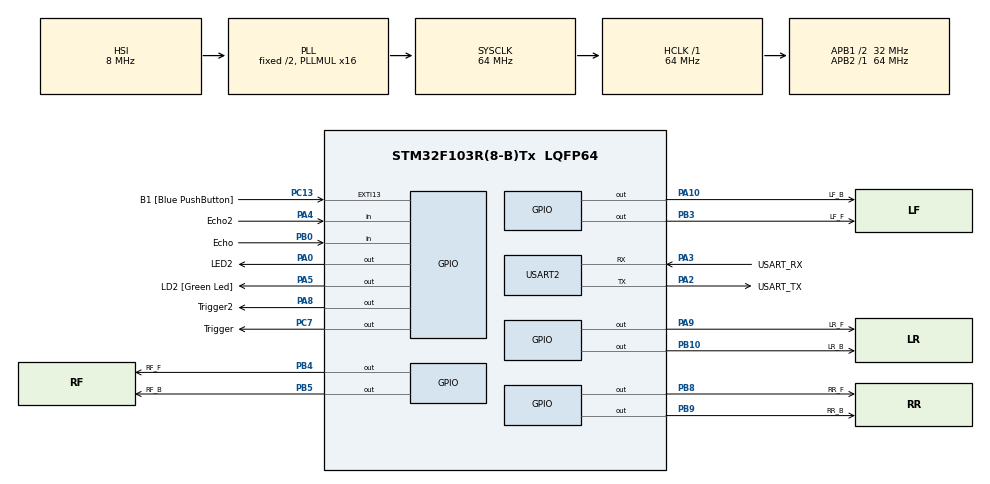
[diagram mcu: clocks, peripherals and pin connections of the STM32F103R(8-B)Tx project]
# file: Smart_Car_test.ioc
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Mcu.Family=STM32F1
Mcu.Name=STM32F103R(8-B)Tx
Mcu.Package=LQFP64
NVIC.EXTI15_10_IRQn=true\:0\:0\:false\:false\:true\:true\:true\:true
NVIC.PriorityGroup=NVIC_PRIORITYGROUP_4
NVIC.USART2_IRQn=true\:0\:0\:false\:false\:true\:true\:true\:true
PA0-WKUP.GPIO_Label=LED2
PA0-WKUP.Signal=GPIO_Output
PA10.GPIO_Label=LF_B
PA10.Signal=GPIO_Output
PA13.GPIO_Label=TMS
PA13.Mode=Serial_Wire
PA13.Signal=SYS_JTMS-SWDIO
PA14.GPIO_Label=TCK
PA14.Mode=Serial_Wire
PA14.Signal=SYS_JTCK-SWCLK
PA2.GPIO_Label=USART_TX
PA2.GPIO_Mode=GPIO_MODE_AF_PP
PA2.GPIO_PuPd=GPIO_NOPULL
PA2.GPIO_Speed=GPIO_SPEED_FREQ_LOW
PA2.Mode=Asynchronous
PA2.Signal=USART2_TX
PA3.GPIO_Label=USART_RX
PA3.GPIO_Mode=GPIO_MODE_AF_PP
PA3.GPIO_PuPd=GPIO_NOPULL
PA3.GPIO_Speed=GPIO_SPEED_FREQ_LOW
PA3.Mode=Asynchronous
PA3.Signal=USART2_RX
PA4.GPIO_Label=Echo2
PA4.Signal=GPIO_Input
PA5.GPIO_Label=LD2 [Green Led]
PA5.GPIO_ModeDefaultOutputPP=GPIO_MODE_OUTPUT_PP
PA5.GPIO_PuPd=GPIO_NOPULL
PA5.GPIO_Speed=GPIO_SPEED_FREQ_LOW
PA5.Signal=GPIO_Output
PA8.GPIO_Label=Trigger2
PA8.Signal=GPIO_Output
PA9.GPIO_Label=LR_F
PA9.Signal=GPIO_Output
PB0.GPIO_Label=Echo
PB0.Signal=GPIO_Input
PB10.GPIO_Label=LR_B
PB10.Signal=GPIO_Output
PB3.GPIO_Label=LF_F
PB3.Signal=GPIO_Output
PB4.GPIO_Label=RF_F
PB4.Signal=GPIO_Output
PB5.GPIO_Label=RF_B
PB5.Signal=GPIO_Output
PB8.GPIO_Label=RR_F
PB8.Signal=GPIO_Output
PB9.GPIO_Label=RR_B
PB9.Signal=GPIO_Output
PC13-TAMPER-RTC.GPIO_Label=B1 [Blue PushButton]
PC13-TAMPER-RTC.GPIO_PuPd=GPIO_NOPULL
PC13-TAMPER-RTC.Signal=GPXTI13
PC14-OSC32_IN.Signal=RCC_OSC32_IN
PC15-OSC32_OUT.Signal=RCC_OSC32_OUT
PC7.GPIO_Label=Trigger
PC7.Signal=GPIO_Output
PD0-OSC_IN.Signal=RCC_OSC_IN
PD1-OSC_OUT.Signal=RCC_OSC_OUT
ProjectManager.HeapSize=0x200
ProjectManager.StackSize=0x400
ProjectManager.TargetToolchain=STM32CubeIDE
RCC.AHBFreq_Value=64000000
RCC.APB1CLKDivider=RCC_HCLK_DIV2
RCC.APB1Freq_Value=32000000
RCC.APB1TimFreq_Value=64000000
RCC.APB2Freq_Value=64000000
RCC.APB2TimFreq_Value=64000000
RCC.HCLKFreq_Value=64000000
RCC.PLLMUL=RCC_PLL_MUL16
RCC.RTCClockSelection=RCC_RTCCLKSOURCE_LSE
RCC.SYSCLKFreq_VALUE=64000000
RCC.SYSCLKSource=RCC_SYSCLKSOURCE_PLLCLK
RCC.USBFreq_Value=64000000
TIM1.Prescaler=64-1
TIM2.Prescaler=64-1
USART2.VirtualMode=VM_ASYNC
VP_TIM1_VS_ClockSourceINT.Mode=Internal
VP_TIM2_VS_ClockSourceINT.Mode=Internal
board=NUCLEO-F103RB

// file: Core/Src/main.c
/* USER CODE BEGIN Header */
/**
  ******************************************************************************
  * @file           : main.c
  * @brief          : Main program body
  ******************************************************************************
  * @attention
  *
  * Copyright (c) 2025 STMicroelectronics.
  * All rights reserved.
  *
  * This software is licensed under terms that can be found in the LICENSE file
  * in the root directory of this software component.
  * If no LICENSE file comes with this software, it is provided AS-IS.
  *
  ******************************************************************************
  */
/* USER CODE END Header */
#include "main.h"
#include "stdio.h"

TIM_HandleTypeDef htim1;
TIM_HandleTypeDef htim2;

UART_HandleTypeDef huart2;

/* USER CODE BEGIN PV */
volatile uint8_t rx_data;           // UART로 수신된 데이터를 저장할 변수
volatile uint8_t new_data_flag = 0; // 새 데이터 수신 여부를 알리는 플래그
volatile uint32_t last_rx_time = 0; // 마지막으로 데이터를 수신한 시간

int HIGH = 1;
int LOW = 0;
/* USER CODE END PV */

void SystemClock_Config(void);
static void MX_GPIO_Init(void);
static void MX_USART2_UART_Init(void);
static void MX_TIM1_Init(void);
static void MX_TIM2_Init(void);

/* USER CODE BEGIN 0 */
#ifdef __GNUC__
#define PUTCHAR_PROTOTYPE int __io_putchar(int ch)
#else
#define PUTCHAR_PROTOTYPE int fputc(int ch, FILE *f)
#endif

PUTCHAR_PROTOTYPE {
	if (ch == '\n')
		HAL_UART_Transmit(&huart2, (uint8_t*) "\r", 1, 0xFFFF);

	HAL_UART_Transmit(&huart2, (uint8_t*) &ch, 1, 0xFFFF);

	return ch;

}

void Smartcar_forward(){
	HAL_GPIO_WritePin(RR_F_GPIO_Port, RR_F_Pin, 1); // PB8  뒤앞   21 22  RR_F /Right_RearForward
	HAL_GPIO_WritePin(RR_B_GPIO_Port, RR_B_Pin, 0); // PB9  뒤백	RR_B Right_RearBack

	HAL_GPIO_WritePin(RF_F_GPIO_Port, RF_F_Pin, 1); // PB4 앞앞  17 16 RF_F
	HAL_GPIO_WritePin(RF_B_GPIO_Port, RF_B_Pin, 0); // PB5 앞백 RF_B

	HAL_GPIO_WritePin(LR_F_GPIO_Port, LR_F_Pin, 1); // PA9  뒤앞 LR_F 12  27 left_RearForward
	HAL_GPIO_WritePin(LR_B_GPIO_Port, LR_B_Pin, 0); // PB10 뒤백 LR_B left_RearBack

	HAL_GPIO_WritePin(LF_F_GPIO_Port, LF_F_Pin, 1); // 앞앞 PB3 25 26 LF_F left_ForwardForward
	HAL_GPIO_WritePin(LF_B_GPIO_Port, LF_B_Pin, 0); // 앞백 PA10 LF_B left_ForwardBack
}

void smartcar_back(){
	HAL_GPIO_WritePin(RR_F_GPIO_Port, RR_F_Pin, 0); // PB8  뒤앞   21 22  RR_F /Right_RearForward
	HAL_GPIO_WritePin(RR_B_GPIO_Port, RR_B_Pin, 1); // PB9  뒤백	RR_B Right_RearBack

	HAL_GPIO_WritePin(RF_F_GPIO_Port, RF_F_Pin, 0); // PB4 앞앞  17 16 RF_F
	HAL_GPIO_WritePin(RF_B_GPIO_Port, RF_B_Pin, 1); // PB5 앞백 RF_B

	HAL_GPIO_WritePin(LR_F_GPIO_Port, LR_F_Pin, 0); // PA9  뒤앞 LR_F 12  27 left_RearForward
	HAL_GPIO_WritePin(LR_B_GPIO_Port, LR_B_Pin, 1); // PB10 뒤백 LR_B left_RearBack

	HAL_GPIO_WritePin(LF_F_GPIO_Port, LF_F_Pin, 0); // 앞앞 PB3 25 26 LF_F left_ForwardForward
	HAL_GPIO_WritePin(LF_B_GPIO_Port, LF_B_Pin, 1); // 앞백 PA10 LF_B left_ForwardBack
}

void smartcar_left(){
	HAL_GPIO_WritePin(RR_F_GPIO_Port, RR_F_Pin, 1); // PB8  뒤앞   21 22  RR_F /Right_RearForward
	HAL_GPIO_WritePin(RR_B_GPIO_Port, RR_B_Pin, 0); // PB9  뒤백	RR_B Right_RearBack

	HAL_GPIO_WritePin(RF_F_GPIO_Port, RF_F_Pin, 1); // PB4 앞앞  17 16 RF_F
	HAL_GPIO_WritePin(RF_B_GPIO_Port, RF_B_Pin, 0); // PB5 앞백 RF_B

	HAL_GPIO_WritePin(LR_F_GPIO_Port, LR_F_Pin, 0); // PA9  뒤앞 LR_F 12  27 left_RearForward
	HAL_GPIO_WritePin(LR_B_GPIO_Port, LR_B_Pin, 1); // PB10 뒤백 LR_B left_RearBack

	HAL_GPIO_WritePin(LF_F_GPIO_Port, LF_F_Pin, 0); // 앞앞 PB3 25 26 LF_F left_ForwardForward
	HAL_GPIO_WritePin(LF_B_GPIO_Port, LF_B_Pin, 1); // 앞백 PA10 LF_B left_ForwardBack
}

void smartcar_right(){
	HAL_GPIO_WritePin(RR_F_GPIO_Port, RR_F_Pin, 0); // PB8  뒤앞   21 22  RR_F /Right_RearForward
	HAL_GPIO_WritePin(RR_B_GPIO_Port, RR_B_Pin, 1); // PB9  뒤백	RR_B Right_RearBack

	HAL_GPIO_WritePin(RF_F_GPIO_Port, RF_F_Pin, 0); // PB4 앞앞  17 16 RF_F
	HAL_GPIO_WritePin(RF_B_GPIO_Port, RF_B_Pin, 1); // PB5 앞백 RF_B

	HAL_GPIO_WritePin(LR_F_GPIO_Port, LR_F_Pin, 1); // PA9  뒤앞 LR_F 12  27 left_RearForward
	HAL_GPIO_WritePin(LR_B_GPIO_Port, LR_B_Pin, 0); // PB10 뒤백 LR_B left_RearBack

	HAL_GPIO_WritePin(LF_F_GPIO_Port, LF_F_Pin, 1); // 앞앞 PB3 25 26 LF_F left_ForwardForward
	HAL_GPIO_WritePin(LF_B_GPIO_Port, LF_B_Pin, 0); // 앞백 PA10 LF_B left_ForwardBack
}

void smartcar_stop(){
	HAL_GPIO_WritePin(RR_F_GPIO_Port, RR_F_Pin, 0); // PB8  뒤앞   21 22  RR_F /Right_RearForward
	HAL_GPIO_WritePin(RR_B_GPIO_Port, RR_B_Pin, 0); // PB9  뒤백	RR_B Right_RearBack

	HAL_GPIO_WritePin(RF_F_GPIO_Port, RF_F_Pin, 0); // PB4 앞앞  17 16 RF_F
	HAL_GPIO_WritePin(RF_B_GPIO_Port, RF_B_Pin, 0); // PB5 앞백 RF_B

	HAL_GPIO_WritePin(LR_F_GPIO_Port, LR_F_Pin, 0); // PA9  뒤앞 LR_F 12  27 left_RearForward
	HAL_GPIO_WritePin(LR_B_GPIO_Port, LR_B_Pin, 0); // PB10 뒤백 LR_B left_RearBack

	HAL_GPIO_WritePin(LF_F_GPIO_Port, LF_F_Pin, 0); // 앞앞 PB3 25 26 LF_F left_ForwardForward
	HAL_GPIO_WritePin(LF_B_GPIO_Port, LF_B_Pin, 0); // 앞백 PA10 LF_B left_ForwardBack
}
void HAL_UART_RxCpltCallback(UART_HandleTypeDef *huart)
{
    // 수신 인터럽트가 발생한 UART가 USART2인지 확인
    if (huart->Instance == USART2)
    {
        new_data_flag = 1;              // 새 데이터가 있다고 플래그 설정
        last_rx_time = HAL_GetTick();   // 현재 시간(ms)을 기록

        // 다음 1바이트를 수신하기 위해 다시 인터럽트를 활성화
        HAL_UART_Receive_IT(&huart2, (uint8_t*)&rx_data, 1);
    }
}

void timer_start(TIM_HandleTypeDef * htim) { //초기화
	HAL_TIM_Base_Start(htim);
}

void delay_us(uint16_t us, TIM_HandleTypeDef * htim) { // us 딜레이
	__HAL_TIM_SET_COUNTER(htim, 0); // initislize counter to start from 0
	while ((__HAL_TIM_GET_COUNTER(htim)) < us)
		; // wait count until us
}

void trig(GPIO_TypeDef* GPIO_Port, uint16_t GPIO_Pin, TIM_HandleTypeDef * htim) { // 트리거
	HAL_GPIO_WritePin(GPIO_Port, GPIO_Pin, HIGH);

	delay_us(10,htim);
	HAL_GPIO_WritePin(GPIO_Port, GPIO_Pin, LOW);
}

long unsigned int echo(GPIO_TypeDef* GPIO_Port, uint16_t GPIO_Pin, TIM_HandleTypeDef * htim) { // 에코
	long unsigned int echo = 0;

	while (HAL_GPIO_ReadPin(GPIO_Port, GPIO_Pin) == LOW) {
	}
	__HAL_TIM_SET_COUNTER(htim, 0);
	while (HAL_GPIO_ReadPin(GPIO_Port, GPIO_Pin) == HIGH)
		;
	echo = __HAL_TIM_GET_COUNTER(htim);
	if (echo >= 240 && echo <= 23000)
		return echo;
	else
		return 0;
}

/* USER CODE END 0 */

int main(void)
{

  /* MCU Configuration--------------------------------------------------------*/

  /* Reset of all peripherals, Initializes the Flash interface and the Systick. */
  HAL_Init();

  /* Configure the system clock */
  SystemClock_Config();

  /* Initialize all configured peripherals */
  MX_GPIO_Init();
  MX_USART2_UART_Init();
  MX_TIM1_Init();
  MX_TIM2_Init();
  /* USER CODE BEGIN 2 */
  HAL_UART_Receive_IT(&huart2, (uint8_t*)&rx_data, 1);

	timer_start(&htim1);
	timer_start(&htim2);

	printf("Ranging with HC-SR04\n");
	long unsigned int echo_time_right;
	long unsigned int echo_time_left;
	int dist_right;
	int dist_left;
  /* USER CODE END 2 */

  /* Infinite loop */
  /* USER CODE BEGIN WHILE */
  while (1)
  {
	  if (new_data_flag)
	  {
		  new_data_flag = 0; // 플래그 처리 완료

		  if(rx_data == 'w'){
			  printf("forward\n");
			  Smartcar_forward();
		  }
		  else if(rx_data == 'a'){
			  printf("left\n");
			  smartcar_left();
		  }
		  else if(rx_data == 'd'){
			  printf("right\n");
			  smartcar_right();
		  }
		  else if(rx_data == 's'){
			  printf("back\n");
			  smartcar_back();
		  }
		  else if(rx_data == 'f'){
			  printf("stop\n");
			  smartcar_stop();
		  }
		  else {
			  printf("Invalid value, stopping\n");
			  smartcar_stop();
		  }
	  }

	  // 마지막 데이터 수신 후 100ms가 지났으면 자동차를 멈춤
	  if (HAL_GetTick() - last_rx_time > 100)
	  {
		  smartcar_stop();
	  }
		trig(Trigger_GPIO_Port,Trigger_Pin,&htim1);
		echo_time_right = echo(Echo_GPIO_Port, Echo_Pin,&htim1);

		trig(Trigger2_GPIO_Port,Trigger2_Pin,&htim2);
		echo_time_left = echo(Echo2_GPIO_Port, Echo2_Pin,&htim2);

	    if( echo_time_right != 0 || echo_time_left !=0){
	        dist_right = (int)(17 * echo_time_right / 100);
	        dist_left = (int)(17 * echo_time_left / 100);
	        printf("1: Distance = %d(mm) | 2: Distance = %d(mm)\n", dist_right,dist_left);
	        HAL_Delay(500);
	    }
	    else {
	    	printf("Out of Range!\n");
	    	HAL_Delay(500);
	    }

    /* USER CODE END WHILE */

  }
}

void SystemClock_Config(void)
{
  RCC_OscInitTypeDef RCC_OscInitStruct = {0};
  RCC_ClkInitTypeDef RCC_ClkInitStruct = {0};

  /** Initializes the RCC Oscillators according to the specified parameters
  * in the RCC_OscInitTypeDef structure.
  */
  RCC_OscInitStruct.OscillatorType = RCC_OSCILLATORTYPE_HSI;
  RCC_OscInitStruct.HSIState = RCC_HSI_ON;
  RCC_OscInitStruct.HSICalibrationValue = RCC_HSICALIBRATION_DEFAULT;
  RCC_OscInitStruct.PLL.PLLState = RCC_PLL_ON;
  RCC_OscInitStruct.PLL.PLLSource = RCC_PLLSOURCE_HSI_DIV2;
  RCC_OscInitStruct.PLL.PLLMUL = RCC_PLL_MUL16;
  if (HAL_RCC_OscConfig(&RCC_OscInitStruct) != HAL_OK)
  {
    Error_Handler();
  }

  /** Initializes the CPU, AHB and APB buses clocks
  */
  RCC_ClkInitStruct.ClockType = RCC_CLOCKTYPE_HCLK|RCC_CLOCKTYPE_SYSCLK
                              |RCC_CLOCKTYPE_PCLK1|RCC_CLOCKTYPE_PCLK2;
  RCC_ClkInitStruct.SYSCLKSource = RCC_SYSCLKSOURCE_PLLCLK;
  RCC_ClkInitStruct.AHBCLKDivider = RCC_SYSCLK_DIV1;
  RCC_ClkInitStruct.APB1CLKDivider = RCC_HCLK_DIV2;
  RCC_ClkInitStruct.APB2CLKDivider = RCC_HCLK_DIV1;

  if (HAL_RCC_ClockConfig(&RCC_ClkInitStruct, FLASH_LATENCY_2) != HAL_OK)
  {
    Error_Handler();
  }
}

static void MX_TIM1_Init(void)
{

  TIM_ClockConfigTypeDef sClockSourceConfig = {0};
  TIM_MasterConfigTypeDef sMasterConfig = {0};

  htim1.Instance = TIM1;
  htim1.Init.Prescaler = 64-1;
  htim1.Init.CounterMode = TIM_COUNTERMODE_UP;
  htim1.Init.Period = 65535;
  htim1.Init.ClockDivision = TIM_CLOCKDIVISION_DIV1;
  htim1.Init.RepetitionCounter = 0;
  htim1.Init.AutoReloadPreload = TIM_AUTORELOAD_PRELOAD_DISABLE;
  if (HAL_TIM_Base_Init(&htim1) != HAL_OK)
  {
    Error_Handler();
  }
  sClockSourceConfig.ClockSource = TIM_CLOCKSOURCE_INTERNAL;
  if (HAL_TIM_ConfigClockSource(&htim1, &sClockSourceConfig) != HAL_OK)
  {
    Error_Handler();
  }
  sMasterConfig.MasterOutputTrigger = TIM_TRGO_RESET;
  sMasterConfig.MasterSlaveMode = TIM_MASTERSLAVEMODE_DISABLE;
  if (HAL_TIMEx_MasterConfigSynchronization(&htim1, &sMasterConfig) != HAL_OK)
  {
    Error_Handler();
  }

}

static void MX_TIM2_Init(void)
{

  TIM_ClockConfigTypeDef sClockSourceConfig = {0};
  TIM_MasterConfigTypeDef sMasterConfig = {0};

  htim2.Instance = TIM2;
  htim2.Init.Prescaler = 64-1;
  htim2.Init.CounterMode = TIM_COUNTERMODE_UP;
  htim2.Init.Period = 65535;
  htim2.Init.ClockDivision = TIM_CLOCKDIVISION_DIV1;
  htim2.Init.AutoReloadPreload = TIM_AUTORELOAD_PRELOAD_DISABLE;
  if (HAL_TIM_Base_Init(&htim2) != HAL_OK)
  {
    Error_Handler();
  }
  sClockSourceConfig.ClockSource = TIM_CLOCKSOURCE_INTERNAL;
  if (HAL_TIM_ConfigClockSource(&htim2, &sClockSourceConfig) != HAL_OK)
  {
    Error_Handler();
  }
  sMasterConfig.MasterOutputTrigger = TIM_TRGO_RESET;
  sMasterConfig.MasterSlaveMode = TIM_MASTERSLAVEMODE_DISABLE;
  if (HAL_TIMEx_MasterConfigSynchronization(&htim2, &sMasterConfig) != HAL_OK)
  {
    Error_Handler();
  }

}

static void MX_USART2_UART_Init(void)
{

  huart2.Instance = USART2;
  huart2.Init.BaudRate = 115200;
  huart2.Init.WordLength = UART_WORDLENGTH_8B;
  huart2.Init.StopBits = UART_STOPBITS_1;
  huart2.Init.Parity = UART_PARITY_NONE;
  huart2.Init.Mode = UART_MODE_TX_RX;
  huart2.Init.HwFlowCtl = UART_HWCONTROL_NONE;
  huart2.Init.OverSampling = UART_OVERSAMPLING_16;
  if (HAL_UART_Init(&huart2) != HAL_OK)
  {
    Error_Handler();
  }

}

static void MX_GPIO_Init(void)
{
  GPIO_InitTypeDef GPIO_InitStruct = {0};

  /* GPIO Ports Clock Enable */
  __HAL_RCC_GPIOC_CLK_ENABLE();
  __HAL_RCC_GPIOD_CLK_ENABLE();
  __HAL_RCC_GPIOA_CLK_ENABLE();
  __HAL_RCC_GPIOB_CLK_ENABLE();

  /*Configure GPIO pin Output Level */
  HAL_GPIO_WritePin(GPIOA, LED2_Pin|LD2_Pin|Trigger2_Pin|LR_F_Pin
                          |LF_B_Pin, GPIO_PIN_RESET);

  /*Configure GPIO pin Output Level */
  HAL_GPIO_WritePin(GPIOB, LR_B_Pin|LF_F_Pin|RF_F_Pin|RF_B_Pin
                          |RR_F_Pin|RR_B_Pin, GPIO_PIN_RESET);

  /*Configure GPIO pin Output Level */
  HAL_GPIO_WritePin(Trigger_GPIO_Port, Trigger_Pin, GPIO_PIN_RESET);

  /*Configure GPIO pin : B1_Pin */
  GPIO_InitStruct.Pin = B1_Pin;
  GPIO_InitStruct.Mode = GPIO_MODE_IT_RISING;
  GPIO_InitStruct.Pull = GPIO_NOPULL;
  HAL_GPIO_Init(B1_GPIO_Port, &GPIO_InitStruct);

  /*Configure GPIO pins : LED2_Pin LD2_Pin Trigger2_Pin LR_F_Pin
                           LF_B_Pin */
  GPIO_InitStruct.Pin = LED2_Pin|LD2_Pin|Trigger2_Pin|LR_F_Pin
                          |LF_B_Pin;
  GPIO_InitStruct.Mode = GPIO_MODE_OUTPUT_PP;
  GPIO_InitStruct.Pull = GPIO_NOPULL;
  GPIO_InitStruct.Speed = GPIO_SPEED_FREQ_LOW;
  HAL_GPIO_Init(GPIOA, &GPIO_InitStruct);

  /*Configure GPIO pin : Echo2_Pin */
  GPIO_InitStruct.Pin = Echo2_Pin;
  GPIO_InitStruct.Mode = GPIO_MODE_INPUT;
  GPIO_InitStruct.Pull = GPIO_NOPULL;
  HAL_GPIO_Init(Echo2_GPIO_Port, &GPIO_InitStruct);

  /*Configure GPIO pin : Echo_Pin */
  GPIO_InitStruct.Pin = Echo_Pin;
  GPIO_InitStruct.Mode = GPIO_MODE_INPUT;
  GPIO_InitStruct.Pull = GPIO_NOPULL;
  HAL_GPIO_Init(Echo_GPIO_Port, &GPIO_InitStruct);

  /*Configure GPIO pins : LR_B_Pin LF_F_Pin RF_F_Pin RF_B_Pin
                           RR_F_Pin RR_B_Pin */
  GPIO_InitStruct.Pin = LR_B_Pin|LF_F_Pin|RF_F_Pin|RF_B_Pin
                          |RR_F_Pin|RR_B_Pin;
  GPIO_InitStruct.Mode = GPIO_MODE_OUTPUT_PP;
  GPIO_InitStruct.Pull = GPIO_NOPULL;
  GPIO_InitStruct.Speed = GPIO_SPEED_FREQ_LOW;
  HAL_GPIO_Init(GPIOB, &GPIO_InitStruct);

  /*Configure GPIO pin : Trigger_Pin */
  GPIO_InitStruct.Pin = Trigger_Pin;
  GPIO_InitStruct.Mode = GPIO_MODE_OUTPUT_PP;
  GPIO_InitStruct.Pull = GPIO_NOPULL;
  GPIO_InitStruct.Speed = GPIO_SPEED_FREQ_LOW;
  HAL_GPIO_Init(Trigger_GPIO_Port, &GPIO_InitStruct);

  /* EXTI interrupt init*/
  HAL_NVIC_SetPriority(EXTI15_10_IRQn, 0, 0);
  HAL_NVIC_EnableIRQ(EXTI15_10_IRQn);

}

void Error_Handler(void)
{
  __disable_irq();
  while (1)
  {
  }
}
